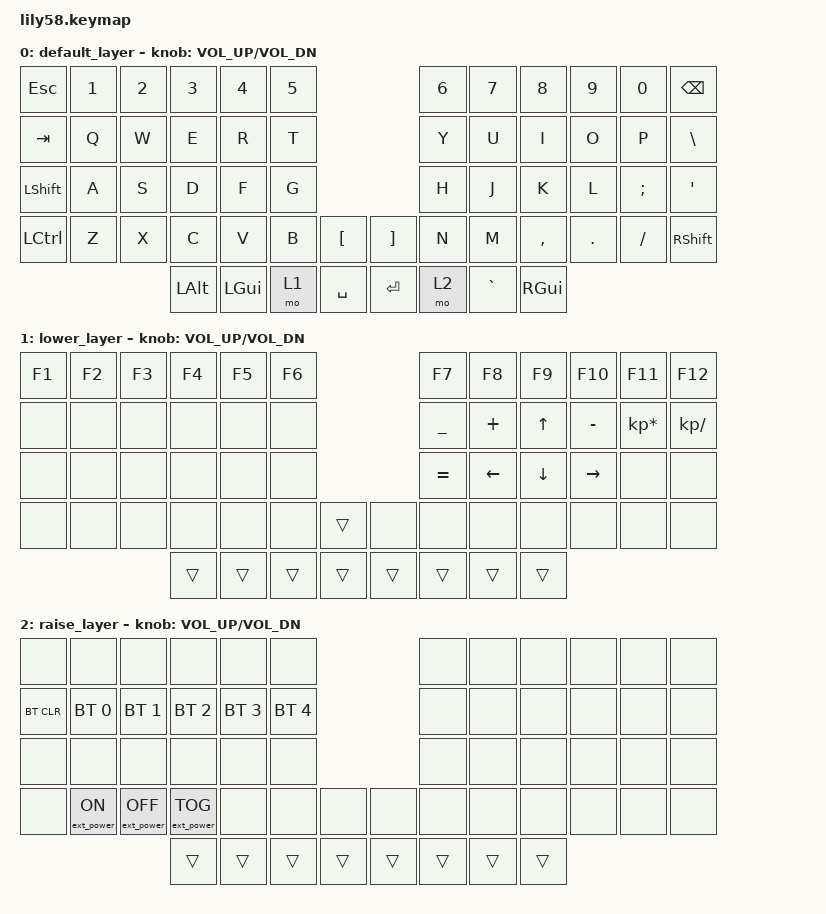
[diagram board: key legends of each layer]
/*
 * Copyright (c) 2020 The ZMK Contributors
 *
 * SPDX-License-Identifier: MIT
 */

#include <behaviors.dtsi>
#include <dt-bindings/zmk/bt.h>
#include <dt-bindings/zmk/ext_power.h>
#include <dt-bindings/zmk/keys.h>

/ {
    keymap {
        compatible = "zmk,keymap";

        default_layer {
            // ------------------------------------------------------------------------------------------------------------
            // |  ESC  |  1  |  2  |  3   |  4   |  5   |                   |  6   |  7    |  8    |  9   |   0   | BSPC  |
            // |  TAB  |  Q  |  W  |  E   |  R   |  T   |                   |  Y   |  U    |  I    |  O   |   P   |   \   |
            // |  CTRL |  A  |  S  |  D   |  F   |  G   |                   |  H   |  J    |  K    |  L   |   ;   |   '   |
            // | SHIFT |  Z  |  X  |  C   |  V   |  B   |   "["  |  |  "]"  |  N   |  M    |  ,    |  .   |   /   | SHIFT |
            //                     | ALT  | GUI  | LOWER|  ENTER |  | SPACE | RAISE|  ` | GUI   |

            bindings = <
&kp ESC    &kp N1  &kp N2  &kp N3    &kp N4    &kp N5                          &kp N6  &kp N7     &kp N8     &kp N9   &kp N0    &kp BACKSPACE
&kp TAB    &kp Q   &kp W   &kp E     &kp R     &kp T                           &kp Y   &kp U      &kp I      &kp O    &kp P     &kp BACKSLASH
&kp LSHFT  &kp A   &kp S   &kp D     &kp F     &kp G                           &kp H   &kp J      &kp K      &kp L    &kp SEMI  &kp SQT
&kp LCTRL  &kp Z   &kp X   &kp C     &kp V     &kp B   &kp LBKT     &kp RBKT   &kp N   &kp M      &kp COMMA  &kp DOT  &kp FSLH  &kp RSHIFT
                           &kp LALT  &kp LGUI  &mo 1   &kp SPACE    &kp ENTER  &mo 2   &kp GRAVE  &kp RGUI
            >;

            sensor-bindings = <&inc_dec_kp C_VOL_UP C_VOL_DN>;
        };

        lower_layer {
            // ------------------------------------------------------------------------------------------------------------
            // |   F1  |  F2 |  F3 |  F4  |  F5  |  F6  |                   |  F7  |  F8   |  F9   |  F10 |  F11 |   F12  |
            // |       |     |     |      |      |      |                   |   -  |   +   |   ^   |      |      |        |
            // |       |     |     |      |      |      |                   |  =   |   <-  |   v   |  ->  |      |        |
            // |       |     |     |      |      |      |      |   |        |      |       |       |      |      |        |     
            //                     |      |      |      |      |   |        |      |       |       |

            bindings = <
&kp F1  &kp F2  &kp F3  &kp F4  &kp F5  &kp F6                    &kp F7     &kp F8    &kp F9        &kp F10    &kp F11          &kp F12
&none   &none   &none   &none   &none   &none                     &kp UNDER  &kp PLUS  &kp UP_ARROW  &kp MINUS  &kp KP_MULTIPLY  &kp KP_DIVIDE
&none   &none   &none   &none   &none   &none                     &kp EQUAL  &kp LEFT  &kp DOWN      &kp RIGHT  &none            &none
&none   &none   &none   &none   &none   &none   &trans    &none   &none      &none     &none         &none      &none            &none
                        &trans  &trans  &trans  &trans    &trans  &trans     &trans    &trans
            >;

            sensor-bindings = <&inc_dec_kp C_VOL_UP C_VOL_DN>;
        };

        raise_layer {
            // ------------------------------------------------------------------------------------------------------------
            // |       |     |     |      |      |      |                   |      |       |       |      |       |       |
            // | BTCLR | BT1 | BT2 |  BT3 |  BT4 |  BT5 |                   |      |       |       |      |       |       |
            // |       |     |     |      |      |      |                   |      |       |       |      |       |       |
            // |       |     |     |      |      |      |        |  |       |      |       |       |      |       |       |
            //                     |      |      |      |        |  |       |      |       |       |

            bindings = <
&none       &none             &none              &none              &none         &none                           &none   &none   &none   &none  &none  &none
&bt BT_CLR  &bt BT_SEL 0      &bt BT_SEL 1       &bt BT_SEL 2       &bt BT_SEL 3  &bt BT_SEL 4                    &none   &none   &none   &none  &none  &none
&none       &none             &none              &none              &none         &none                           &none   &none   &none   &none  &none  &none
&none       &ext_power EP_ON  &ext_power EP_OFF  &ext_power EP_TOG  &none         &none         &none     &none   &none   &none   &none   &none  &none  &none
                                                 &trans             &trans        &trans        &trans    &trans  &trans  &trans  &trans
            >;

            sensor-bindings = <&inc_dec_kp C_VOL_UP C_VOL_DN>;
        };
    };
};
